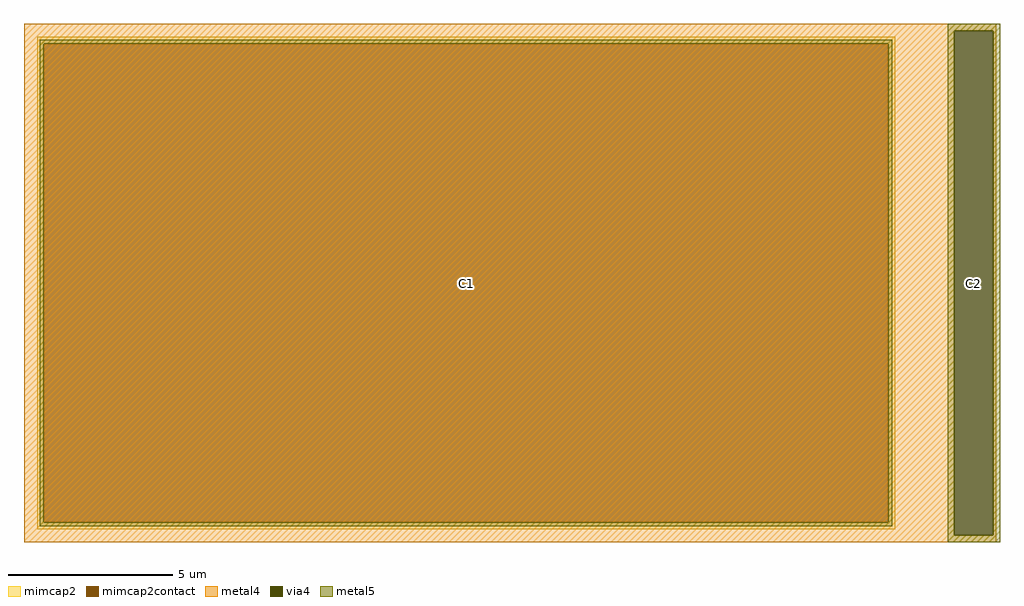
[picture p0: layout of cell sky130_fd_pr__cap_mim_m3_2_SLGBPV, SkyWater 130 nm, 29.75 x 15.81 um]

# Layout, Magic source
magic
tech sky130A
magscale 1 2
<< metal4 >>
rect -2964 1539 2964 1580
rect -2964 -1539 2708 1539
rect 2944 -1539 2964 1539
rect -2964 -1580 2964 -1539
<< via4 >>
rect 2708 -1539 2944 1539
<< mimcap2 >>
rect -2884 1460 2346 1500
rect -2884 -1460 -2844 1460
rect 2306 -1460 2346 1460
rect -2884 -1500 2346 -1460
<< mimcap2contact >>
rect -2844 -1460 2306 1460
<< metal5 >>
rect 2666 1539 2986 1581
rect -2868 1460 2330 1484
rect -2868 -1460 -2844 1460
rect 2306 -1460 2330 1460
rect -2868 -1484 2330 -1460
rect 2666 -1539 2708 1539
rect 2944 -1539 2986 1539
rect 2666 -1581 2986 -1539
<< labels >>
rlabel via4 2826 0 2826 0 0 C2
port 1 nsew
rlabel mimcap2contact -269 0 -269 0 0 C1
port 2 nsew
<< properties >>
string FIXED_BBOX -2964 -1580 2426 1580
string gencell sky130_fd_pr__cap_mim_m3_2
string library sky130
string parameters w 26.15 l 15.0 val 800.137 carea 2.00 cperi 0.19 class capacitor nx 1 ny 1 dummy 0 square 0 lmin 2.00 wmin 2.00 lmax 30.0 wmax 30.0 dc 0 bconnect 0 tconnect 1 ccov 100 doports 1
<< end >>
